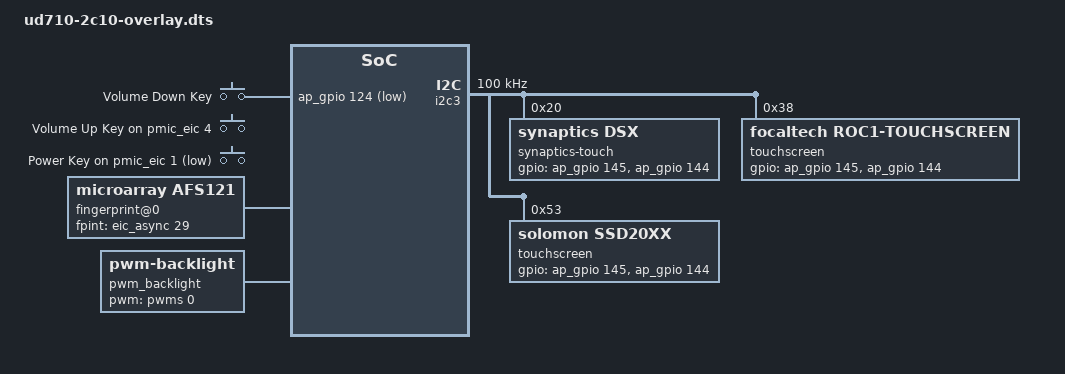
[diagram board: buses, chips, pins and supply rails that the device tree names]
/dts-v1/;
/plugin/;

#include <dt-bindings/input/input.h>
#include <dt-bindings/gpio/gpio.h>

/ {
	fragment {
		target-path = "/";
		__overlay__ {

			gpio-keys {
				compatible = "gpio-keys";

				key-volumedown {
					label = "Volume Down Key";
					linux,code = <KEY_VOLUMEDOWN>;
					gpios = <&ap_gpio 124 GPIO_ACTIVE_LOW>;
					debounce-interval = <2>;
					wakeup-source;
				};

				key-volumeup {
					label = "Volume Up Key";
					linux,code = <KEY_VOLUMEUP>;
					gpios = <&pmic_eic 4 GPIO_ACTIVE_HIGH>;
					debounce-interval = <2>;
					wakeup-source;
				};

				key-power {
					label = "Power Key";
					linux,code = <KEY_POWER>;
					gpios = <&pmic_eic 1 GPIO_ACTIVE_LOW>;
					debounce-interval = <2>;
					wakeup-source;
				};
			};

			fingerprint@0 {
				compatible = "microarray,afs121";
				fpint-gpios = <&eic_async 29 GPIO_ACTIVE_HIGH>;
			};

			pwm_backlight: sprd_backlight {
				compatible = "pwm-backlight";
				pwms = <&pwms 0 40000>;
				pwm-names = "backlight";
				brightness-levels = <
					  2   2   2   2   2
					  2   2   2   3   4   5   6   7   8   9
					 10  11  12  13  14  15  16  17  18  19
					 20  21  22  23  24  25  26  27  28  29
					 30  31  32  33  34  35  36  37  38  39
					 40  41  42  43  44  45  46  47  48  49
					 50  51  52  53  54  55  56  57  58  59
					 60  61  62  63  64  65  66  67  68  69
					 70  71  72  73  74  75  76  77  78  79
					 80  81  82  83  84  85  86  87  88  89
					 90  91  92  93  94  95  96  97  98  99
					100 101 102 103 104 105 106 107 108 109
					110 111 112 113 114 115 116 117 118 119
					120 121 122 123 124 125 126 127 128 129
					130 131 132 133 134 135 136 137 138 139
					140 141 142 143 144 145 146 147 148 149
					150 151 152 153 154 155 156 157 158 159
					160 161 162 163 164 165 166 167 168 169
					170 171 172 173 174 175 176 177 178 179
					180 181 182 183 184 185 186 187 188 189
					190 191 192 193 194 195 196 197 198 199
					200 201 202 203 204 205 206 207 208 209
					209 209 209 210 210 210 211 211 211 211
					212 212 212 212 213 213 213 213 214 214
					214 214 214 215 215 215 215 216 216 216
					217 217 217 217 218 218 218 219 219 220
					220
					>;
				default-brightness-level = <33>;
			};
		};
	};
};

&i2c3 {
	status = "okay";
	clock-frequency = <100000>;

	synaptics-touch@20 {
		compatible = "synaptics,dsx";
		reg = <0x20>;
		gpios = <&ap_gpio 145 GPIO_ACTIVE_HIGH
			&ap_gpio 144 GPIO_ACTIVE_HIGH>;
	};

	touchscreen@38 {
		compatible = "focaltech,roc1-touchscreen";
		reg = <0x38>;
		gpios = <&ap_gpio 145 GPIO_ACTIVE_HIGH
			&ap_gpio 144 GPIO_ACTIVE_HIGH>;
		virtualkeys = <80 1600 30 30
			240 1600 30 30
			400 1600 30 30>;
		max-x = <720>;
		max-y = <1520>;
		status = "okay";
	};

	touchscreen@53 {
		compatible = "solomon,ssd20xx";
		reg = <0x53>;
		gpios = <&ap_gpio 145 GPIO_ACTIVE_HIGH
			&ap_gpio 144 GPIO_ACTIVE_HIGH>;
	};
};

&panel {
	sprd,backlight = <&pwm_backlight>;
};

&ddr_dfs {
	sprd-scene = "boost", "lcdon", "lcdoff", "camlow",
		"camhigh", "camveryhigh";
	sprd-freq = <1333 768 256 384 667 1333>;
};
